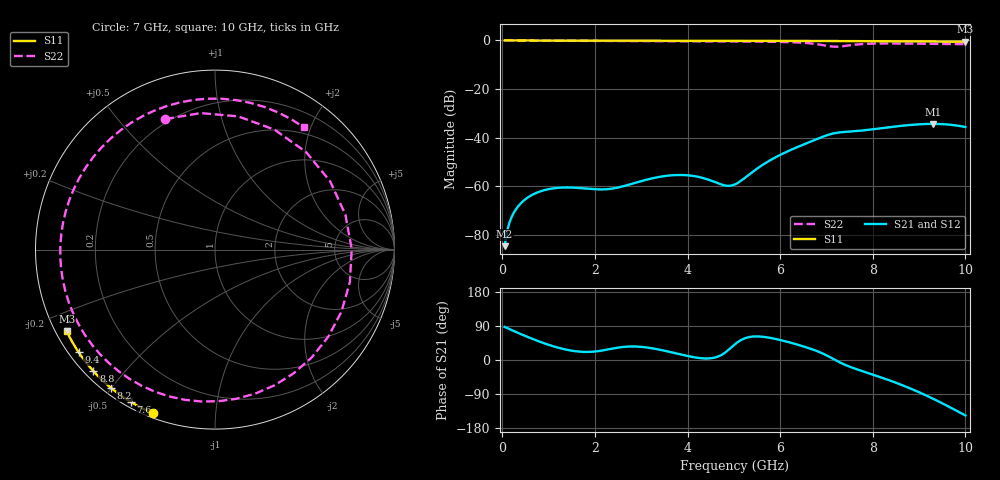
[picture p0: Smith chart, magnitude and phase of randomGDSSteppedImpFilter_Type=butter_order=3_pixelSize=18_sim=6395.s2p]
! freq	dB(S11)	phase(S11)	dB(S12)	phase(S12)
!  dB(S21)	phase(S21)	dB(S22)	phase(S22)
!S-par simulation data
#  GHz  S  DB  R 50
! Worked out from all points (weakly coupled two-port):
!   200 points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, 50 MHz to 10 GHz, reference 50 ohm
!   highest |S21| = -34.37 dB at 9.3 GHz (marker M1); lowest = -84.8 dB at 50 MHz (marker M2)
!   lowest |S11| = -0.5 dB at 10 GHz (marker M3), VSWR 34.18, Z = 1.56 - j12.8 ohm
!   |S11| at or under -10 dB: nowhere
!   |S22| runs from -2.6 to 0.0 dB; largest |S21 - S12| = 0
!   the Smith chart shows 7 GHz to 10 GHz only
!   S11 on the Smith chart (normalised r, x): 7 GHz: 0.02, -0.69; 7.6 GHz: 0.02, -0.59; 8.2 GHz: 0.02, -0.50; 8.8 GHz: 0.03, -0.41; 9.4 GHz: 0.03, -0.33; 10 GHz: 0.03, -0.26
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0.05  -0.00 -0.9  -84.75 87.3  -84.75 87.3  -0.00 -4.7
0.35  -0.01 -6.1  -68.17 71.0  -68.17 71.0  -0.05 -32.3
0.9  -0.02 -15.7  -61.71 44.3  -61.71 44.3  -0.10 -80.2
1.75  -0.04 -30.3  -60.92 21.4  -60.92 21.4  -0.15 -145.1
2.55  -0.06 -43.7  -60.36 33.5  -60.36 33.5  -0.20 159.7
3.4  -0.08 -57.5  -56.17 27.2  -56.17 27.2  -0.25 100.2
4.35  -0.10 -72.3  -56.75 4.2  -56.75 4.2  -0.34 28.7
5.05  -0.13 -82.9  -59.06 44.0  -59.06 44.0  -0.41 -25.4
6  -0.17 -96.7  -47.16 52.8  -47.16 52.8  -0.61 -100.7
6.35  -0.19 -101.6  -44.10 41.4  -44.10 41.4  -0.81 -134.3
6.7  -0.21 -106.5  -41.34 27.9  -41.34 27.9  -1.29 178.6
7  -0.23 -110.7  -39.12 12.4  -39.12 12.4  -2.17 110.9
7.15  -0.24 -112.7  -38.30 2.7  -38.30 2.7  -2.55 63.6
7.3  -0.25 -114.8  -37.85 -7.0  -37.85 -7.0  -2.47 15.0
7.6  -0.27 -118.9  -37.41 -22.1  -37.41 -22.1  -1.76 -57.6
7.85  -0.29 -122.3  -36.94 -32.3  -36.94 -32.3  -1.41 -95.4
8.2  -0.32 -127.0  -36.11 -46.7  -36.11 -46.7  -1.25 -133.1
8.35  -0.33 -129.0  -35.76 -53.2  -35.76 -53.2  -1.24 -146.9
8.8  -0.37 -135.0  -34.84 -74.6  -34.84 -74.6  -1.30 174.2
9.3  -0.43 -141.7  -34.37 -102.1  -34.37 -102.1  -1.43 128.6
9.4  -0.44 -143.1  -34.40 -108.1  -34.40 -108.1  -1.45 118.7
10  -0.51 -151.2  -35.66 -146.4  -35.66 -146.4  -1.49 54.1
